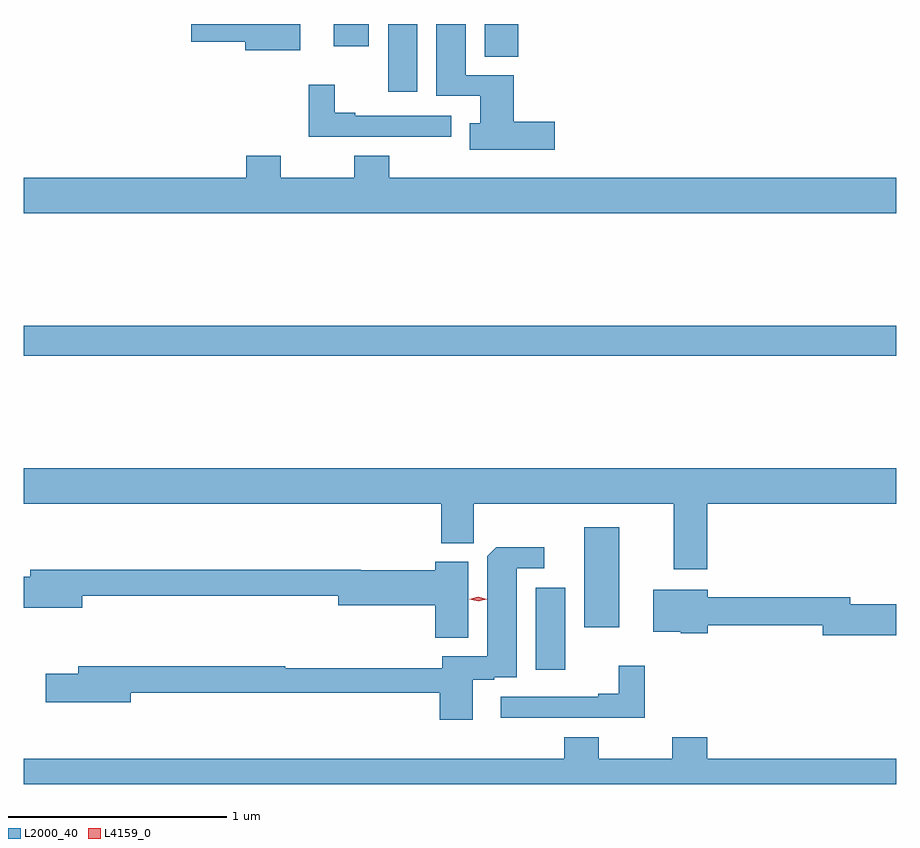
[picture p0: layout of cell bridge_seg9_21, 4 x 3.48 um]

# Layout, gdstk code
import gdstk
lib = gdstk.Library(unit=1e-6, precision=1e-09)
def R(c, l, rs):  # rectangles x0, y0, x1, y1
    for r in rs: c.add(gdstk.rectangle(r[:2], r[2:], *l))
def P(c, l, *ps):  # polygons
    for p in ps: c.add(gdstk.Polygon(p, *l))
L2000_40 = (2000, 40)
L4159_0 = (4159, 0)

bridge_seg9_21 = lib.new_cell('bridge_seg9_21')
R(bridge_seg9_21, L2000_40, [(959.012,1165.023,959.146,1165.399), (959.234,1165.218,959.395,1165.678), (956.664,1166.464,960.664,1166.6), (958.334,1167.674,958.468,1167.984), (958.778,1167.835,958.931,1167.984), (958.085,1167.882,958.246,1167.984)])
P(bridge_seg9_21, L2000_40, [(957.931,1167.984),(957.432,1167.984),(957.432,1167.902),(957.68,1167.902),(957.68,1167.863),(957.931,1167.863)],
  [(959.098,1167.537),(958.91,1167.537),(958.91,1167.75),(958.69,1167.75),(958.69,1167.984),(958.556,1167.984),(958.556,1167.654),(958.757,1167.654),(958.757,1167.529),(958.708,1167.529),(958.708,1167.407),(959.098,1167.407)],
  [(958.623,1167.564),(958.183,1167.564),(958.183,1167.577),(958.089,1167.577),(958.089,1167.706),(957.97,1167.706),(957.97,1167.468),(958.623,1167.468)],
  [(960.664,1167.28),(958.34,1167.28),(958.34,1167.379),(958.18,1167.379),(958.18,1167.28),(957.843,1167.28),(957.843,1167.379),(957.683,1167.379),(957.683,1167.28),(956.664,1167.28),(956.664,1167.116),(960.664,1167.116)],
  [(959.798,1165.784),(960.664,1165.784),(960.664,1165.948),(956.664,1165.948),(956.664,1165.784),(958.577,1165.784),(958.577,1165.603),(958.727,1165.603),(958.727,1165.784),(959.645,1165.784),(959.645,1165.485),(959.798,1165.485)],
  [(958.723,1164.978),(958.82,1164.978),(958.82,1164.99),(958.924,1164.99),(958.924,1165.488),(959.05,1165.488),(959.05,1165.586),(958.831,1165.586),(958.79,1165.544),(958.79,1165.086),(958.583,1165.086),(958.583,1165.031),(957.864,1165.031),(957.864,1165.039),(956.915,1165.039),(956.915,1165.005),(956.766,1165.005),(956.766,1164.875),(957.154,1164.875),(957.154,1164.918),(958.571,1164.918),(958.571,1164.795),(958.723,1164.795)],
  [(958.702,1165.518),(958.55,1165.518),(958.55,1165.479),(958.21,1165.479),(958.21,1165.483),(956.693,1165.483),(956.693,1165.449),(956.664,1165.449),(956.664,1165.307),(956.932,1165.307),(956.932,1165.362),(958.106,1165.362),(958.106,1165.319),(958.55,1165.319),(958.55,1165.171),(958.702,1165.171)],
  [(960.664,1165.323),(960.454,1165.323),(960.454,1165.357),(959.8,1165.357),(959.8,1165.39),(959.549,1165.39),(959.549,1165.199),(959.675,1165.199),(959.675,1165.192),(959.8,1165.192),(959.8,1165.228),(960.326,1165.228),(960.326,1165.181),(960.664,1165.181)],
  [(959.51,1165.042),(959.392,1165.042),(959.392,1164.913),(959.297,1164.913),(959.297,1164.9),(958.851,1164.9),(958.851,1164.804),(959.51,1164.804)],
  [(960.664,1164.616),(959.798,1164.616),(959.798,1164.715),(959.638,1164.715),(959.638,1164.616),(959.301,1164.616),(959.301,1164.715),(959.141,1164.715),(959.141,1164.616),(956.664,1164.616),(956.664,1164.5),(960.664,1164.5)])
P(bridge_seg9_21, L4159_0, [(958.747,1165.338),(958.707,1165.348),(958.706,1165.348),(958.707,1165.348),(958.747,1165.358),(958.787,1165.348),(958.788,1165.348),(958.787,1165.348)])

lib.write_gds('bridge_seg9_21.gds')
